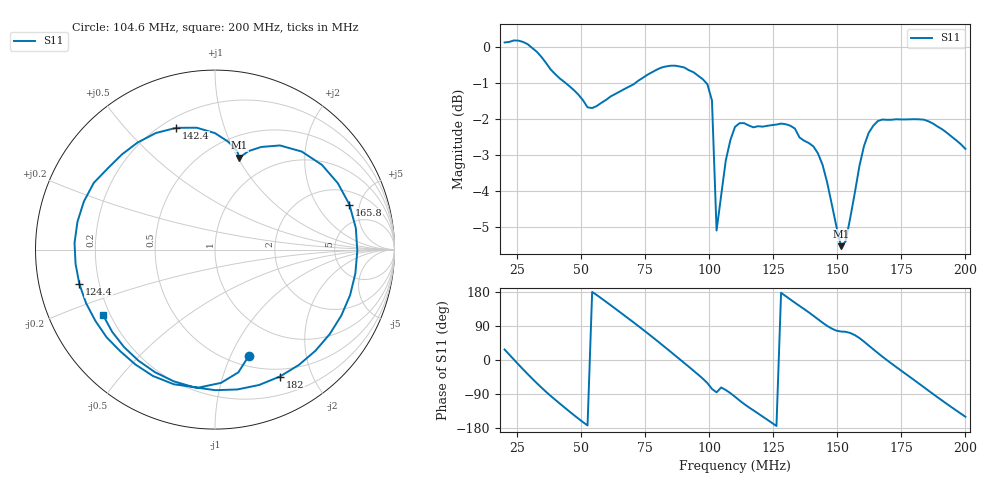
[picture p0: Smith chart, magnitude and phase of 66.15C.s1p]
# HZ S RI R 50
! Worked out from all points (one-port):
!   101 points, 20 MHz to 200 MHz, reference 50 ohm
!   lowest |S11| = -5.5 dB at 151.4 MHz (marker M1), VSWR 3.25, Z = 35.7 + j50.7 ohm
!   |S11| at or under -10 dB: nowhere
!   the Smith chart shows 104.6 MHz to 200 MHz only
!   S11 on the Smith chart (normalised r, x): 104.6 MHz: 0.60, -1.17; 124.4 MHz: 0.13, -0.12; 142.4 MHz: 0.25, +0.70; 165.8 MHz: 2.99, +3.99; 182 MHz: 0.41, -1.56; 200 MHz: 0.17, -0.26
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2e7  0.8991 0.4729
2.54e7  1 -0.2086
3.26e7  0.4749 -0.864
3.8e7  -0.0777 -0.9285
4.34e7  -0.5163 -0.7309
5.42e7  -0.8233 0.00522
6.5e7  -0.5176 0.6969
7.58e7  0.2992 0.8658
8.3e7  0.7985 0.4972
8.84e7  0.9401 0.0327
9.38e7  0.8136 -0.437
9.92e7  0.4344 -0.7755
1.01e8  0.1988 -0.8199
1.028e8  0.0453 -0.5544
1.046e8  0.1872 -0.5939
1.1e8  -0.0944 -0.7694
1.244e8  -0.7558 -0.1912
1.334e8  -0.6758 0.3714
1.424e8  -0.2165 0.6786
1.514e8  0.1356 0.5114
1.55e8  0.1853 0.5482
1.604e8  0.4835 0.546
1.658e8  0.7491 0.2507
1.712e8  0.7819 -0.1331
1.784e8  0.56 -0.5632
1.82e8  0.3616 -0.7071
1.91e8  -0.2299 -0.7339
2e8  -0.624 -0.3642
